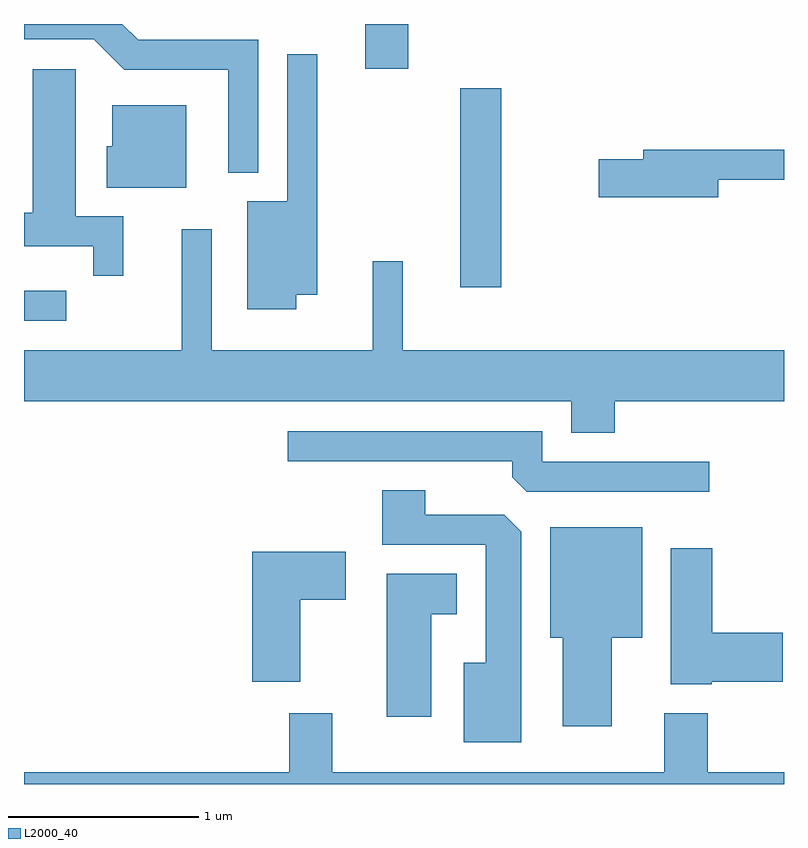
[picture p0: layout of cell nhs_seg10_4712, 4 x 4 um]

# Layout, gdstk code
import gdstk
lib = gdstk.Library(unit=1e-6, precision=1e-09)
def R(c, l, rs):  # rectangles x0, y0, x1, y1
    for r in rs: c.add(gdstk.rectangle(r[:2], r[2:], *l))
def P(c, l, *ps):  # polygons
    for p in ps: c.add(gdstk.Polygon(p, *l))
L2000_40 = (2000, 40)

nhs_seg10_4712 = lib.new_cell('nhs_seg10_4712')
R(nhs_seg10_4712, L2000_40, [(323.611,2160.961,323.833,2161.119), (325.906,2161.136,326.124,2162.184), (325.406,2162.286,325.634,2162.522)])
P(nhs_seg10_4712, L2000_40, [(324.844,2162.439),(324.212,2162.439),(324.129,2162.522),(323.611,2162.522),(323.611,2162.441),(323.979,2162.441),(324.139,2162.281),(324.686,2162.281),(324.686,2161.738),(324.844,2161.738)],
  [(325.044,2161.096),(325.154,2161.096),(325.154,2162.363),(324.996,2162.363),(324.996,2161.589),(324.786,2161.589),(324.786,2161.021),(325.044,2161.021)],
  [(324.134,2161.509),(323.884,2161.509),(323.884,2162.284),(323.656,2162.284),(323.656,2161.529),(323.611,2161.529),(323.611,2161.351),(323.976,2161.351),(323.976,2161.198),(324.134,2161.198)],
  [(324.464,2162.094),(324.076,2162.094),(324.076,2161.879),(324.046,2161.879),(324.046,2161.661),(324.464,2161.661)],
  [(327.264,2161.701),(327.611,2161.701),(327.611,2161.859),(326.871,2161.859),(326.871,2161.809),(326.636,2161.809),(326.636,2161.611),(327.264,2161.611)],
  [(326.719,2160.536),(327.611,2160.536),(327.611,2160.804),(325.604,2160.804),(325.604,2161.273),(325.446,2161.273),(325.446,2160.804),(324.599,2160.804),(324.599,2161.443),(324.441,2161.443),(324.441,2160.804),(323.611,2160.804),(323.611,2160.536),(326.491,2160.536),(326.491,2160.371),(326.719,2160.371)],
  [(327.218,2160.219),(326.339,2160.219),(326.339,2160.379),(324.998,2160.379),(324.998,2160.221),(326.181,2160.221),(326.181,2160.137),(326.257,2160.061),(327.218,2160.061)],
  [(326.229,2159.849),(326.139,2159.939),(325.724,2159.939),(325.724,2160.069),(325.496,2160.069),(325.496,2159.781),(326.041,2159.781),(326.041,2159.159),(325.926,2159.159),(325.926,2158.741),(326.229,2158.741)],
  [(326.704,2159.291),(326.864,2159.291),(326.864,2159.874),(326.381,2159.874),(326.381,2159.291),(326.446,2159.291),(326.446,2158.826),(326.704,2158.826)],
  [(327.23,2159.061),(327.604,2159.061),(327.604,2159.319),(327.234,2159.319),(327.234,2159.764),(327.016,2159.764),(327.016,2159.046),(327.23,2159.046)],
  [(325.064,2159.491),(325.304,2159.491),(325.304,2159.744),(324.811,2159.744),(324.811,2159.061),(325.064,2159.061)],
  [(325.754,2159.416),(325.889,2159.416),(325.889,2159.629),(325.521,2159.629),(325.521,2158.876),(325.754,2158.876)],
  [(327.611,2158.584),(327.209,2158.584),(327.209,2158.894),(326.981,2158.894),(326.981,2158.584),(325.234,2158.584),(325.234,2158.894),(325.006,2158.894),(325.006,2158.584),(323.611,2158.584),(323.611,2158.522),(327.611,2158.522)])

lib.write_gds('nhs_seg10_4712.gds')
